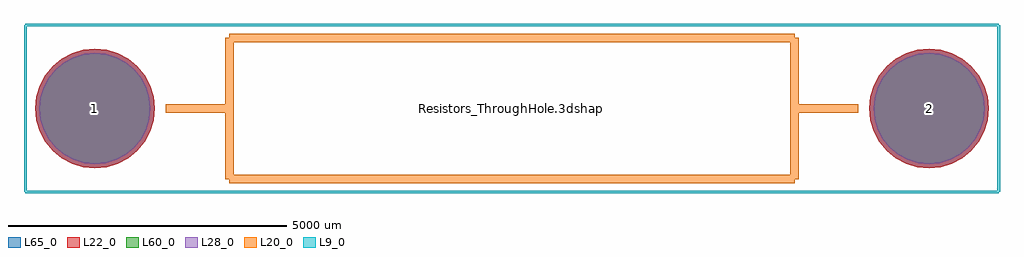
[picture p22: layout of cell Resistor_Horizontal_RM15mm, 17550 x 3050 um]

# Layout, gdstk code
import gdstk
lib = gdstk.Library(unit=1e-6, precision=1e-09)
def P(c, l, *ps):  # polygons
    for p in ps: c.add(gdstk.Polygon(p, *l))
L9_0 = (9, 0)
L20_0 = (20, 0)
L22_0 = (22, 0)
L28_0 = (28, 0)
L60_0 = (60, 0)
L65_0 = (65, 0)

resistor_horizontal_rm15 = lib.new_cell('Resistor_Horizontal_RM15mm')
P(resistor_horizontal_rm15, L22_0, [(16074.49,0),(16053.844,209.623),(15992.699,411.19),(15893.406,596.955),(15759.779,759.779),(15596.955,893.406),(15411.19,992.699),(15209.623,1053.844),(15000,1074.49),(14790.377,1053.844),(14588.81,992.699),(14403.045,893.406),(14240.221,759.779),(14106.594,596.955),(14007.301,411.19),(13946.156,209.623),(13925.51,0),(13946.156,-209.623),(14007.301,-411.19),(14106.594,-596.955),(14240.221,-759.779),(14403.045,-893.406),(14588.81,-992.699),(14790.377,-1053.844),(15000,-1074.49),(15209.623,-1053.844),(15411.19,-992.699),(15596.955,-893.406),(15759.779,-759.779),(15893.406,-596.955),(15992.699,-411.19),(16053.844,-209.623)],
  [(1074.49,0),(1053.844,209.623),(992.699,411.19),(893.406,596.955),(759.779,759.779),(596.955,893.406),(411.19,992.699),(209.623,1053.844),(0,1074.49),(-209.623,1053.844),(-411.19,992.699),(-596.955,893.406),(-759.779,759.779),(-893.406,596.955),(-992.699,411.19),(-1053.844,209.623),(-1074.49,0),(-1053.844,-209.623),(-992.699,-411.19),(-893.406,-596.955),(-759.779,-759.779),(-596.955,-893.406),(-411.19,-992.699),(-209.623,-1053.844),(0,-1074.49),(209.623,-1053.844),(411.19,-992.699),(596.955,-893.406),(759.779,-759.779),(893.406,-596.955),(992.699,-411.19),(1053.844,-209.623)])
P(resistor_horizontal_rm15, L28_0, [(15999.49,0),(15980.285,194.991),(15923.408,382.488),(15831.046,555.287),(15706.746,706.746),(15555.287,831.046),(15382.488,923.408),(15194.991,980.285),(15000,999.49),(14805.009,980.285),(14617.512,923.408),(14444.713,831.046),(14293.254,706.746),(14168.954,555.287),(14076.592,382.488),(14019.715,194.991),(14000.51,0),(14019.715,-194.991),(14076.592,-382.488),(14168.954,-555.287),(14293.254,-706.746),(14444.713,-831.046),(14617.512,-923.408),(14805.009,-980.285),(15000,-999.49),(15194.991,-980.285),(15382.488,-923.408),(15555.287,-831.046),(15706.746,-706.746),(15831.046,-555.287),(15923.408,-382.488),(15980.285,-194.991)],
  [(999.49,0),(980.285,194.991),(923.408,382.488),(831.046,555.287),(706.746,706.746),(555.287,831.046),(382.488,923.408),(194.991,980.285),(0,999.49),(-194.991,980.285),(-382.488,923.408),(-555.287,831.046),(-706.746,706.746),(-831.046,555.287),(-923.408,382.488),(-980.285,194.991),(-999.49,0),(-980.285,-194.991),(-923.408,-382.488),(-831.046,-555.287),(-706.746,-706.746),(-555.287,-831.046),(-382.488,-923.408),(-194.991,-980.285),(0,-999.49),(194.991,-980.285),(382.488,-923.408),(555.287,-831.046),(706.746,-706.746),(831.046,-555.287),(923.408,-382.488),(980.285,-194.991)])
P(resistor_horizontal_rm15, L60_0, [(15999.49,0),(15980.285,194.991),(15923.408,382.488),(15831.046,555.287),(15706.746,706.746),(15555.287,831.046),(15382.488,923.408),(15194.991,980.285),(15000,999.49),(14805.009,980.285),(14617.512,923.408),(14444.713,831.046),(14293.254,706.746),(14168.954,555.287),(14076.592,382.488),(14019.715,194.991),(14000.51,0),(14019.715,-194.991),(14076.592,-382.488),(14168.954,-555.287),(14293.254,-706.746),(14444.713,-831.046),(14617.512,-923.408),(14805.009,-980.285),(15000,-999.49),(15194.991,-980.285),(15382.488,-923.408),(15555.287,-831.046),(15706.746,-706.746),(15831.046,-555.287),(15923.408,-382.488),(15980.285,-194.991)],
  [(999.49,0),(980.285,194.991),(923.408,382.488),(831.046,555.287),(706.746,706.746),(555.287,831.046),(382.488,923.408),(194.991,980.285),(0,999.49),(-194.991,980.285),(-382.488,923.408),(-555.287,831.046),(-706.746,706.746),(-831.046,555.287),(-923.408,382.488),(-980.285,194.991),(-999.49,0),(-980.285,-194.991),(-923.408,-382.488),(-831.046,-555.287),(-706.746,-706.746),(-555.287,-831.046),(-382.488,-923.408),(-194.991,-980.285),(0,-999.49),(194.991,-980.285),(382.488,-923.408),(555.287,-831.046),(706.746,-706.746),(831.046,-555.287),(923.408,-382.488),(980.285,-194.991)])
P(resistor_horizontal_rm15, L65_0, [(16074.49,0),(16053.844,209.623),(15992.699,411.19),(15893.406,596.955),(15759.779,759.779),(15596.955,893.406),(15411.19,992.699),(15209.623,1053.844),(15000,1074.49),(14790.377,1053.844),(14588.81,992.699),(14403.045,893.406),(14240.221,759.779),(14106.594,596.955),(14007.301,411.19),(13946.156,209.623),(13925.51,0),(13946.156,-209.623),(14007.301,-411.19),(14106.594,-596.955),(14240.221,-759.779),(14403.045,-893.406),(14588.81,-992.699),(14790.377,-1053.844),(15000,-1074.49),(15209.623,-1053.844),(15411.19,-992.699),(15596.955,-893.406),(15759.779,-759.779),(15893.406,-596.955),(15992.699,-411.19),(16053.844,-209.623)],
  [(1074.49,0),(1053.844,209.623),(992.699,411.19),(893.406,596.955),(759.779,759.779),(596.955,893.406),(411.19,992.699),(209.623,1053.844),(0,1074.49),(-209.623,1053.844),(-411.19,992.699),(-596.955,893.406),(-759.779,759.779),(-893.406,596.955),(-992.699,411.19),(-1053.844,209.623),(-1074.49,0),(-1053.844,-209.623),(-992.699,-411.19),(-893.406,-596.955),(-759.779,-759.779),(-596.955,-893.406),(-411.19,-992.699),(-209.623,-1053.844),(0,-1074.49),(209.623,-1053.844),(411.19,-992.699),(596.955,-893.406),(759.779,-759.779),(893.406,-596.955),(992.699,-411.19),(1053.844,-209.623)])
resistor_horizontal_rm15.add(gdstk.FlexPath([(1270,0),(2420,0)], 149.998, ends="flush", simple_path=True, layer=20, datatype=0))  # L20_0
resistor_horizontal_rm15.add(gdstk.FlexPath([(13730,0),(12580,0)], 149.998, ends="flush", simple_path=True, layer=20, datatype=0))  # L20_0
resistor_horizontal_rm15.add(gdstk.FlexPath([(12580,1270),(2420,1270)], 149.998, ends="flush", simple_path=True, layer=20, datatype=0))  # L20_0
resistor_horizontal_rm15.add(gdstk.FlexPath([(12580,-1270),(12580,1270)], 149.998, ends="flush", simple_path=True, layer=20, datatype=0))  # L20_0
resistor_horizontal_rm15.add(gdstk.FlexPath([(2420,-1270),(12580,-1270)], 149.998, ends="flush", simple_path=True, layer=20, datatype=0))  # L20_0
resistor_horizontal_rm15.add(gdstk.FlexPath([(2420,1270),(2420,-1270)], 149.998, ends="flush", simple_path=True, layer=20, datatype=0))  # L20_0
resistor_horizontal_rm15.add(gdstk.FlexPath([(16250,-1500),(-1250,-1500)], 50, ends="flush", simple_path=True, layer=9, datatype=0))  # L9_0
resistor_horizontal_rm15.add(gdstk.FlexPath([(16250,1500),(16250,-1500)], 50, ends="flush", simple_path=True, layer=9, datatype=0))  # L9_0
resistor_horizontal_rm15.add(gdstk.FlexPath([(-1250,1500),(16250,1500)], 50, ends="flush", simple_path=True, layer=9, datatype=0))  # L9_0
resistor_horizontal_rm15.add(gdstk.FlexPath([(-1250,-1500),(-1250,1500)], 50, ends="flush", simple_path=True, layer=9, datatype=0))  # L9_0
resistor_horizontal_rm15.add(gdstk.Label('Resistors_ThroughHole.3dshapes/Resistor_Horizontal_RM15mm.wrl', (7493,0), layer=12, texttype=0))
resistor_horizontal_rm15.add(gdstk.Label('2', (15000,0), layer=28, texttype=0))
resistor_horizontal_rm15.add(gdstk.Label('1', (0,0), layer=28, texttype=0))
resistor_horizontal_rm15.add(gdstk.Label('type', (7500,-4000.5), layer=9, texttype=0))
resistor_horizontal_rm15.add(gdstk.Label('devicename', (7500,3749.04), layer=9, texttype=0))

lib.write_gds('Resistor_Horizontal_RM15mm.gds')
